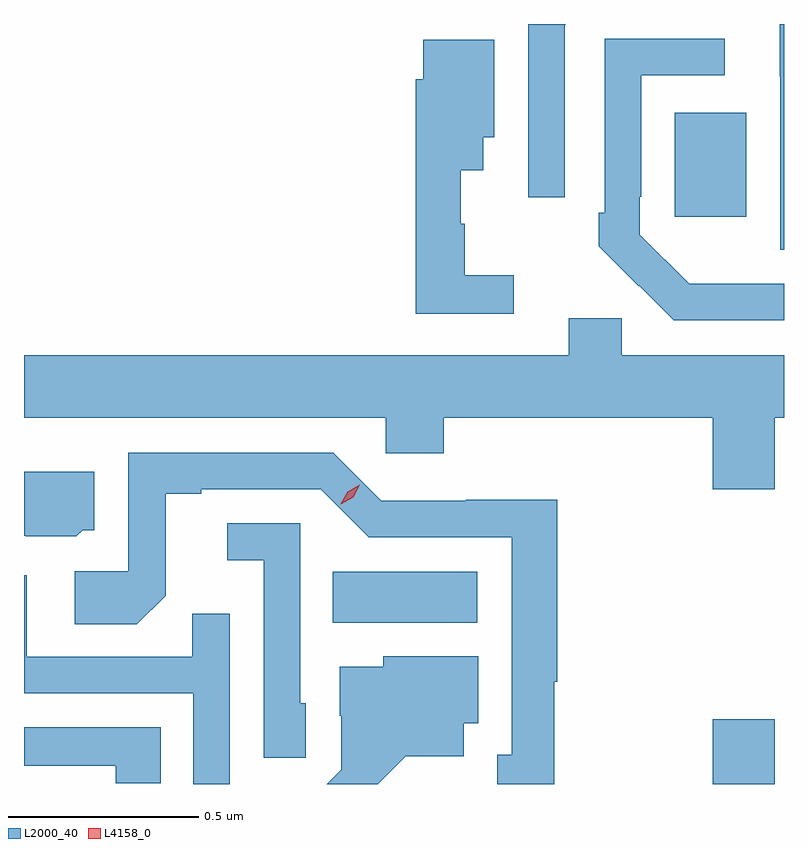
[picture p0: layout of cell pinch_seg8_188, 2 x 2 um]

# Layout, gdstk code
import gdstk
lib = gdstk.Library(unit=1e-6, precision=1e-09)
def R(c, l, rs):  # rectangles x0, y0, x1, y1
    for r in rs: c.add(gdstk.rectangle(r[:2], r[2:], *l))
def P(c, l, *ps):  # polygons
    for p in ps: c.add(gdstk.Polygon(p, *l))
L2000_40 = (2000, 40)
L4158_0 = (4158, 0)

pinch_seg8_188 = lib.new_cell('pinch_seg8_188')
R(pinch_seg8_188, L2000_40, [(692.48,1162.156,692.644,1162.327), (691.48,1162.58,691.861,1162.714), (692.381,1163.649,692.569,1163.923)])
P(pinch_seg8_188, L2000_40, [(692.668,1164.156),(692.657,1164.156),(692.657,1164.019),(692.658,1164.019),(692.658,1163.562),(692.668,1163.562)],
  [(692.091,1164.153),(692.094,1164.156),(691.995,1164.156),(691.995,1163.7),(692.091,1163.7)],
  [(692.668,1163.472),(692.521,1163.472),(692.521,1163.473),(692.418,1163.473),(692.289,1163.601),(692.289,1163.701),(692.292,1163.701),(692.292,1164.021),(692.512,1164.021),(692.512,1164.117),(692.196,1164.117),(692.196,1163.659),(692.181,1163.659),(692.181,1163.571),(692.286,1163.466),(692.287,1163.467),(692.378,1163.376),(692.668,1163.376)],
  [(691.957,1163.495),(691.828,1163.495),(691.828,1163.631),(691.817,1163.631),(691.817,1163.771),(691.876,1163.771),(691.876,1163.858),(691.906,1163.858),(691.906,1164.115),(691.718,1164.115),(691.718,1164.011),(691.699,1164.011),(691.699,1163.394),(691.957,1163.394)],
  [(692.48,1162.932),(692.644,1162.932),(692.644,1163.12),(692.668,1163.12),(692.668,1163.284),(692.241,1163.284),(692.241,1163.382),(692.102,1163.382),(692.102,1163.284),(690.668,1163.284),(690.668,1163.12),(691.62,1163.12),(691.62,1163.027),(691.772,1163.027),(691.772,1163.12),(692.48,1163.12)],
  [(692.063,1162.425),(692.071,1162.425),(692.071,1162.904),(691.83,1162.904),(691.83,1162.902),(691.608,1162.902),(691.482,1163.028),(690.942,1163.028),(690.942,1162.716),(690.801,1162.716),(690.801,1162.576),(690.965,1162.576),(691.041,1162.652),(691.041,1162.92),(691.135,1162.92),(691.135,1162.932),(691.449,1162.932),(691.575,1162.806),(691.952,1162.806),(691.952,1162.233),(691.913,1162.233),(691.913,1162.156),(692.063,1162.156)],
  [(690.822,1162.824),(690.853,1162.824),(690.853,1162.978),(690.668,1162.978),(690.668,1162.809),(690.672,1162.809),(690.672,1162.808),(690.806,1162.808)],
  [(691.41,1162.368),(691.395,1162.368),(691.395,1162.842),(691.203,1162.842),(691.203,1162.745),(691.299,1162.745),(691.299,1162.225),(691.41,1162.225)],
  [(691.209,1162.604),(691.111,1162.604),(691.111,1162.491),(690.675,1162.491),(690.675,1162.705),(690.668,1162.705),(690.668,1162.395),(691.113,1162.395),(691.113,1162.156),(691.209,1162.156)],
  [(691.673,1162.229),(691.825,1162.229),(691.825,1162.316),(691.864,1162.316),(691.864,1162.492),(691.614,1162.492),(691.614,1162.465),(691.499,1162.465),(691.499,1162.336),(691.503,1162.336),(691.503,1162.194),(691.465,1162.156),(691.599,1162.156)],
  [(691.028,1162.305),(690.668,1162.305),(690.668,1162.204),(690.91,1162.204),(690.91,1162.158),(691.028,1162.158)])
P(pinch_seg8_188, L4158_0, [(691.502,1162.892),(691.502,1162.893),(691.52,1162.925),(691.551,1162.944),(691.552,1162.944),(691.552,1162.943),(691.534,1162.911),(691.502,1162.892)])

lib.write_gds('pinch_seg8_188.gds')
